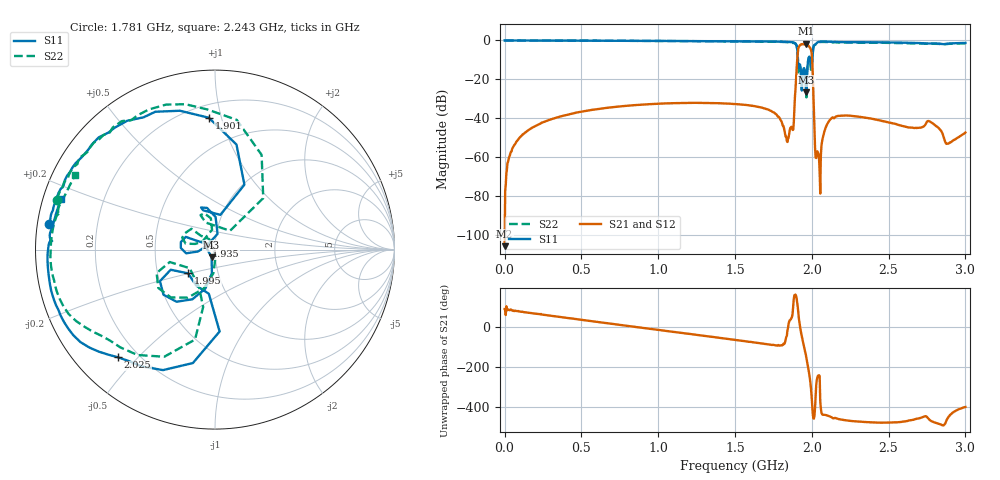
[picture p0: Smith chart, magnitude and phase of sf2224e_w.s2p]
# Hz S RI R 50
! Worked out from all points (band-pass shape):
!   801 points, 300 kHz to 3 GHz, reference 50 ohm
!   highest |S21| = -1.71 dB at 1.965 GHz (marker M1); lowest = -105.9 dB at 300 kHz (marker M2)
!   |S21| within 3 dB of the highest: 1.911 GHz to 1.994 GHz (83.03 MHz wide, 4.25 % of centre)
!   lowest |S11| = -26.7 dB at 1.965 GHz (marker M3), VSWR 1.10, Z = 48 - j4.03 ohm
!   |S11| at or under -10 dB: 1.91 GHz to 1.977 GHz (67.13 MHz wide, 3.45 % of centre); 1.989 GHz to 2.004 GHz (14.91 MHz wide, 0.747 % of centre)
!   |S22| runs from -29.3 to 0.0 dB; largest |S21 - S12| = 0.00063
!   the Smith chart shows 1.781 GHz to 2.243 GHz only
!   S11 on the Smith chart (normalised r, x): 1.781 GHz: 0.03, +0.08; 1.901 GHz: 0.29, +0.91; 1.935 GHz: 0.91, +0.04; 1.995 GHz: 0.72, -0.20; 2.025 GHz: 0.13, -0.44; 2.243 GHz: 0.05, +0.16
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300000  1.002 -0.00169  -1.13e-07 5.1e-06  2.53e-06 7.83e-06  1.002 -0.0022
3.404662e7  0.9976 -0.0614  7.74e-05 0.00109  8.13e-05 0.00111  0.9974 -0.0631
1.090391e8  0.9788 -0.1937  0.000779 0.00343  0.000776 0.00343  0.9783 -0.1995
5.027498e8  0.6265 -0.7673  0.0118 0.00896  0.0118 0.00898  0.5944 -0.7927
1.00145e9  -0.1768 -0.9574  0.023 -0.00517  0.0231 -0.00515  -0.2578 -0.9368
1.50015e9  -0.8373 -0.4664  0.0106 -0.0205  0.0106 -0.0205  -0.8823 -0.3446
1.781372e9  -0.9232 0.1421  0.000302 -0.0108  0.000299 -0.0108  -0.8798 0.2789
1.863864e9  -0.7346 0.5238  0.00443 0.00372  0.00443 0.00369  -0.622 0.6378
1.90136e9  -0.0344 0.7346  -0.1554 0.1104  -0.1553 0.1101  0.1214 0.7225
1.935106e9  -0.0473 0.0204  0.5707 -0.5706  0.571 -0.5705  -0.0708 0.0443
1.950105e9  -0.19 0.0425  -0.1307 -0.7867  -0.1308 -0.787  -0.1676 0.0912
1.965104e9  -0.019 -0.0419  -0.7315 -0.3742  -0.7316 -0.3738  0.00379 -0.0342
1.9951e9  -0.1501 -0.1323  0.3552 0.4483  0.3555 0.4485  -0.1413 -0.1035
2.0026e9  -0.0344 -0.2458  0.2834 -0.1534  0.2836 -0.1536  -0.066 -0.3199
2.025098e9  -0.5397 -0.6001  0.000913 0.000311  0.000913 0.00032  -0.6343 -0.4795
2.043846e9  -0.79 -0.4764  -0.000586 0.00105  -0.00058 0.00105  -0.8442 -0.3165
2.111339e9  -0.933 -0.0355  0.00108 -0.00828  0.00109 -0.00827  -0.9023 0.1207
2.242576e9  -0.8606 0.2805  -0.00322 -0.0112  -0.0032 -0.0112  -0.779 0.4152
2.5013e9  -0.6344 0.623  -0.0033 -0.00704  -0.0033 -0.00705  -0.5038 0.7073
2.767523e9  -0.339 0.767  -0.0018 -0.00808  -0.00178 -0.00809  -0.1947 0.7986
2.883762e9  -0.2495 0.7897  -0.000187 -0.0022  -0.000178 -0.0022  -0.1054 0.8072
3e9  -0.1247 0.855  0.00338 -0.00261  0.00338 -0.0026  0.0265 0.8494
